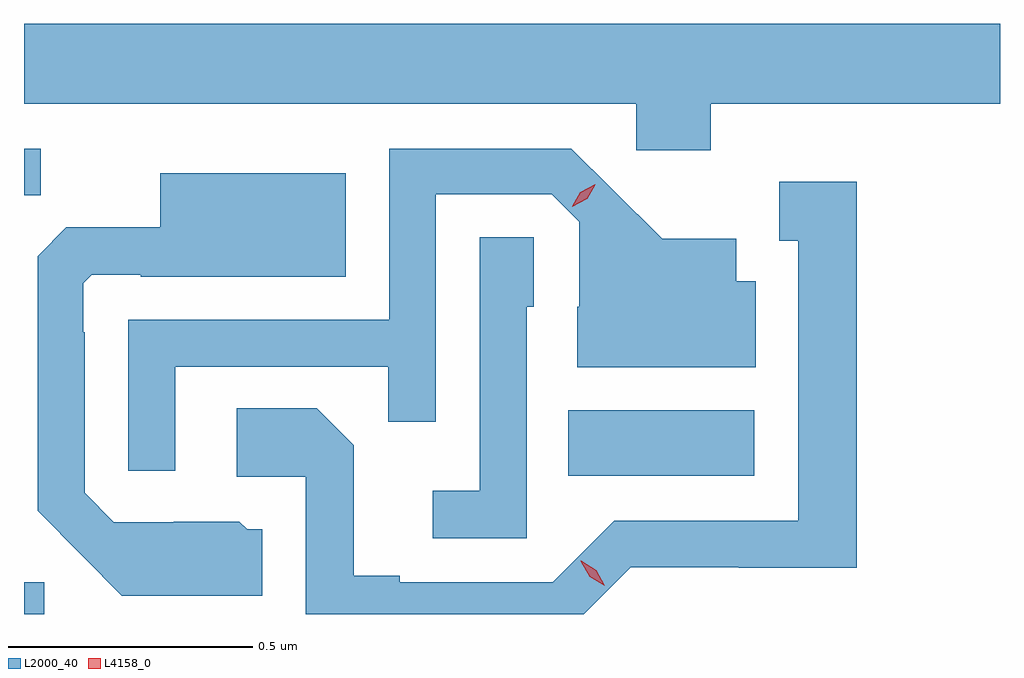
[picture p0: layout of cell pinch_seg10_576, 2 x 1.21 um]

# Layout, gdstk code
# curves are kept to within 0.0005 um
import gdstk
lib = gdstk.Library(unit=1e-6, precision=1e-09)
def R(c, l, rs):  # rectangles x0, y0, x1, y1
    for r in rs: c.add(gdstk.rectangle(r[:2], r[2:], *l))
def P(c, l, *ps):  # polygons
    for p in ps: c.add(gdstk.Polygon(p, *l))
L2000_40 = (2000, 40)
L4158_0 = (4158, 0)

pinch_seg10_576 = lib.new_cell('pinch_seg10_576')
R(pinch_seg10_576, L2000_40, [(304.751,1261.974,304.792,1262.04), (305.866,1262.258,306.247,1262.392), (304.751,1262.833,304.785,1262.928)])
P(pinch_seg10_576, L2000_40, [(306.158,1263.02),(306.751,1263.02),(306.751,1263.184),(304.751,1263.184),(304.751,1263.02),(306.006,1263.02),(306.006,1262.925),(306.158,1262.925)],
  [(305.061,1262.481),(305.497,1262.481),(305.497,1262.368),(305.595,1262.368),(305.595,1262.835),(305.832,1262.835),(305.889,1262.778),(305.889,1262.604),(305.885,1262.604),(305.885,1262.48),(306.25,1262.48),(306.25,1262.656),(306.211,1262.656),(306.211,1262.743),(306.059,1262.743),(305.872,1262.928),(305.499,1262.928),(305.499,1262.577),(304.965,1262.577),(304.965,1262.268),(305.061,1262.268)],
  [(305.239,1262.148),(305.208,1262.148),(305.192,1262.164),(305.058,1262.164),(305.058,1262.163),(304.935,1262.163),(304.875,1262.223),(304.875,1262.552),(304.872,1262.552),(304.872,1262.652),(304.89,1262.67),(304.99,1262.67),(304.99,1262.666),(305.41,1262.666),(305.41,1262.878),(305.03,1262.878),(305.03,1262.767),(304.838,1262.767),(304.779,1262.708),(304.779,1262.186),(304.951,1262.012),(305.239,1262.012)],
  [(305.994,1262.07),(306.216,1262.07),(306.216,1262.069),(306.457,1262.069),(306.457,1262.86),(306.299,1262.86),(306.299,1262.739),(306.338,1262.739),(306.338,1262.166),(305.961,1262.166),(305.835,1262.04),(305.521,1262.04),(305.521,1262.053),(305.427,1262.053),(305.427,1262.32),(305.351,1262.396),(305.187,1262.396),(305.187,1262.256),(305.328,1262.256),(305.328,1261.974),(305.898,1261.974)],
  [(305.781,1262.604),(305.796,1262.604),(305.796,1262.747),(305.685,1262.747),(305.685,1262.227),(305.589,1262.227),(305.589,1262.13),(305.781,1262.13)])
P(pinch_seg10_576, L4158_0, [(305.874,1262.809),(305.874,1262.81),(305.891,1262.839),(305.922,1262.855),(305.922,1262.855),(305.922,1262.854),(305.905,1262.825),(305.874,1262.809)],
  [(305.941,1262.032),(305.91,1262.051),(305.892,1262.083),(305.892,1262.084),(305.893,1262.084),(305.924,1262.064),(305.941,1262.032),(305.941,1262.032)])

lib.write_gds('pinch_seg10_576.gds')
